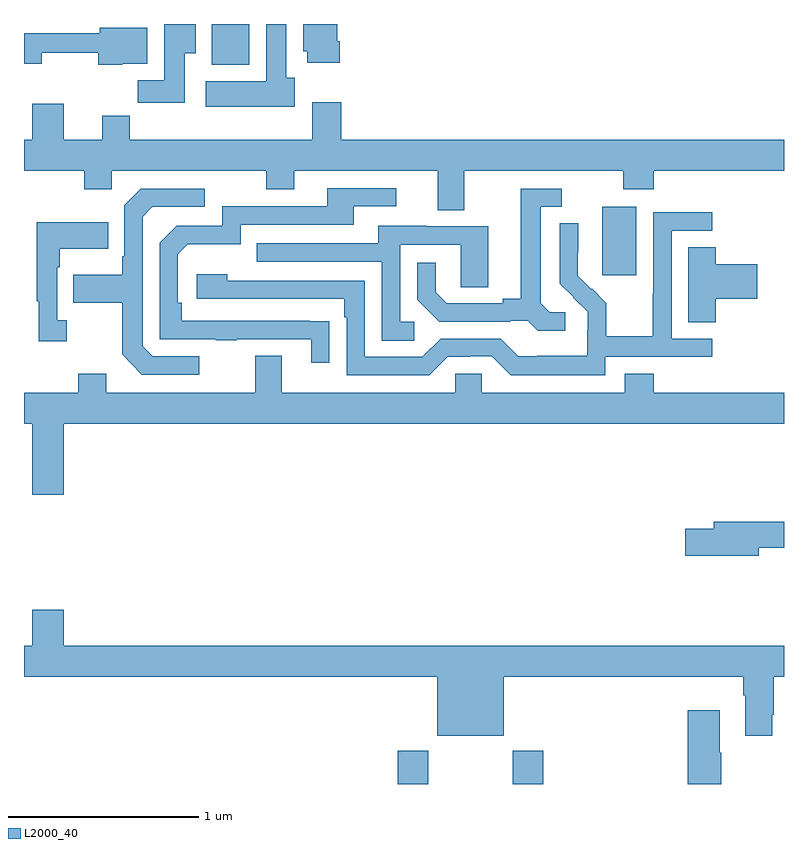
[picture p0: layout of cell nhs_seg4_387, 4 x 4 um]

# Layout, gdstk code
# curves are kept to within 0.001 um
import gdstk
lib = gdstk.Library(unit=1e-6, precision=1e-09)
def R(c, l, rs):  # rectangles x0, y0, x1, y1
    for r in rs: c.add(gdstk.rectangle(r[:2], r[2:], *l))
def P(c, l, *ps):  # polygons
    for p in ps: c.add(gdstk.Polygon(p, *l))
L2000_40 = (2000, 40)

nhs_seg4_387 = lib.new_cell('nhs_seg4_387')
R(nhs_seg4_387, L2000_40, [(130.967,818.9,131.127,819.076), (131.572,818.9,131.732,819.076), (132.044,821.577,132.223,821.938), (129.989,822.686,130.186,822.9)])
P(nhs_seg4_387, L2000_40, [(129.847,822.745),(129.904,822.745),(129.904,822.9),(129.737,822.9),(129.737,822.604),(129.598,822.604),(129.598,822.486),(129.847,822.486)],
  [(130.426,822.618),(130.381,822.618),(130.381,822.9),(130.274,822.9),(130.274,822.598),(129.957,822.598),(129.957,822.464),(130.426,822.464)],
  [(130.661,822.808),(130.648,822.808),(130.648,822.9),(130.469,822.9),(130.469,822.756),(130.49,822.756),(130.49,822.696),(130.661,822.696)],
  [(129.516,822.692),(129.649,822.692),(129.649,822.88),(129.398,822.88),(129.398,822.852),(129,822.852),(129,822.691),(129.094,822.691),(129.094,822.748),(129.391,822.748),(129.391,822.686),(129.516,822.686)],
  [(131.317,822.128),(132.154,822.128),(132.154,822.029),(132.314,822.029),(132.314,822.128),(133,822.128),(133,822.292),(130.67,822.292),(130.67,822.487),(130.517,822.487),(130.517,822.292),(129.557,822.292),(129.557,822.416),(129.413,822.416),(129.413,822.292),(129.208,822.292),(129.208,822.481),(129.044,822.481),(129.044,822.292),(129,822.292),(129,822.128),(129.316,822.128),(129.316,822.029),(129.462,822.029),(129.462,822.128),(130.276,822.128),(130.276,822.029),(130.423,822.029),(130.423,822.128),(131.177,822.128),(131.177,821.92),(131.317,821.92)],
  [(130.607,821.336),(129.83,821.337),(129.83,821.434),(129.81,821.434),(129.81,821.688),(129.863,821.741),(130.14,821.741),(130.14,821.844),(130.735,821.844),(130.735,821.94),(130.96,821.94),(130.96,822.036),(130.595,822.036),(130.595,821.94),(130.044,821.94),(130.044,821.838),(129.804,821.838),(129.714,821.748),(129.714,821.241),(130.009,821.241),(130.009,821.236),(130.121,821.236),(130.121,821.241),(130.511,821.241),(130.511,821.118),(130.607,821.118)],
  [(131.848,821.382),(131.766,821.382),(131.719,821.429),(131.719,821.937),(131.83,821.937),(131.83,822.033),(131.615,822.033),(131.615,821.453),(131.519,821.453),(131.519,821.43),(131.224,821.43),(131.167,821.487),(131.167,821.644),(131.07,821.644),(131.07,821.45),(131.186,821.334),(131.558,821.334),(131.558,821.337),(131.652,821.337),(131.704,821.285),(131.848,821.285)],
  [(129.922,821.151),(129.678,821.151),(129.624,821.205),(129.624,821.886),(129.675,821.937),(129.952,821.937),(129.952,822.033),(129.615,822.033),(129.528,821.946),(129.528,821.677),(129.516,821.677),(129.516,821.581),(129.259,821.581),(129.259,821.434),(129.516,821.434),(129.516,821.161),(129.621,821.055),(129.922,821.055)],
  [(132.06,821.148),(132.622,821.148),(132.622,821.244),(132.408,821.244),(132.408,821.811),(132.622,821.811),(132.622,821.91),(132.312,821.91),(132.312,821.48),(132.31,821.48),(132.31,821.257),(132.065,821.257),(132.065,821.431),(131.988,821.508),(131.985,821.505),(131.915,821.576),(131.916,821.852),(131.82,821.852),(131.82,821.534),(131.966,821.386),(131.966,821.289),(131.964,821.289),(131.964,821.155),(131.701,821.155),(131.701,821.151),(131.601,821.151),(131.508,821.244),(131.193,821.244),(131.097,821.148),(130.794,821.148),(130.794,821.55),(130.07,821.55),(130.07,821.584),(129.909,821.584),(129.909,821.454),(130.685,821.454),(130.685,821.357),(130.698,821.357),(130.698,821.052),(131.133,821.052),(131.229,821.148),(131.348,821.148),(131.348,821.151),(131.463,821.151),(131.563,821.051),(132.06,821.051)],
  [(129.226,821.342),(129.174,821.342),(129.174,821.621),(129.187,821.621),(129.187,821.717),(129.443,821.717),(129.443,821.857),(129.066,821.857),(129.066,821.441),(129.077,821.441),(129.077,821.229),(129.226,821.229)],
  [(131.053,821.334),(130.98,821.334),(130.98,821.739),(131.298,821.739),(131.298,821.515),(131.443,821.515),(131.443,821.835),(131.119,821.835),(131.119,821.839),(130.865,821.839),(130.865,821.745),(130.225,821.745),(130.225,821.649),(130.884,821.649),(130.884,821.233),(131.053,821.233)],
  [(132.641,821.453),(132.859,821.453),(132.859,821.636),(132.641,821.636),(132.641,821.726),(132.497,821.726),(132.497,821.329),(132.641,821.329)],
  [(129.208,820.796),(133,820.796),(133,820.96),(132.314,820.96),(132.314,821.059),(132.161,821.059),(132.161,820.96),(131.409,820.96),(131.409,821.058),(131.271,821.058),(131.271,820.96),(130.357,820.96),(130.357,821.155),(130.217,821.155),(130.217,820.96),(129.433,820.96),(129.433,821.059),(129.286,821.059),(129.286,820.96),(129,820.96),(129,820.796),(129.044,820.796),(129.044,820.422),(129.208,820.422)],
  [(132.868,820.144),(133,820.144),(133,820.28),(132.629,820.28),(132.629,820.244),(132.48,820.244),(132.48,820.102),(132.868,820.102)],
  [(132.937,819.265),(132.945,819.265),(132.945,819.464),(133,819.464),(133,819.628),(129.208,819.628),(129.208,819.817),(129.044,819.817),(129.044,819.628),(129,819.628),(129,819.464),(131.174,819.464),(131.174,819.155),(131.524,819.155),(131.524,819.464),(132.785,819.464),(132.785,819.368),(132.797,819.368),(132.797,819.153),(132.937,819.153)],
  [(132.669,819.065),(132.661,819.065),(132.661,819.289),(132.494,819.289),(132.494,818.9),(132.669,818.9)])

lib.write_gds('nhs_seg4_387.gds')
